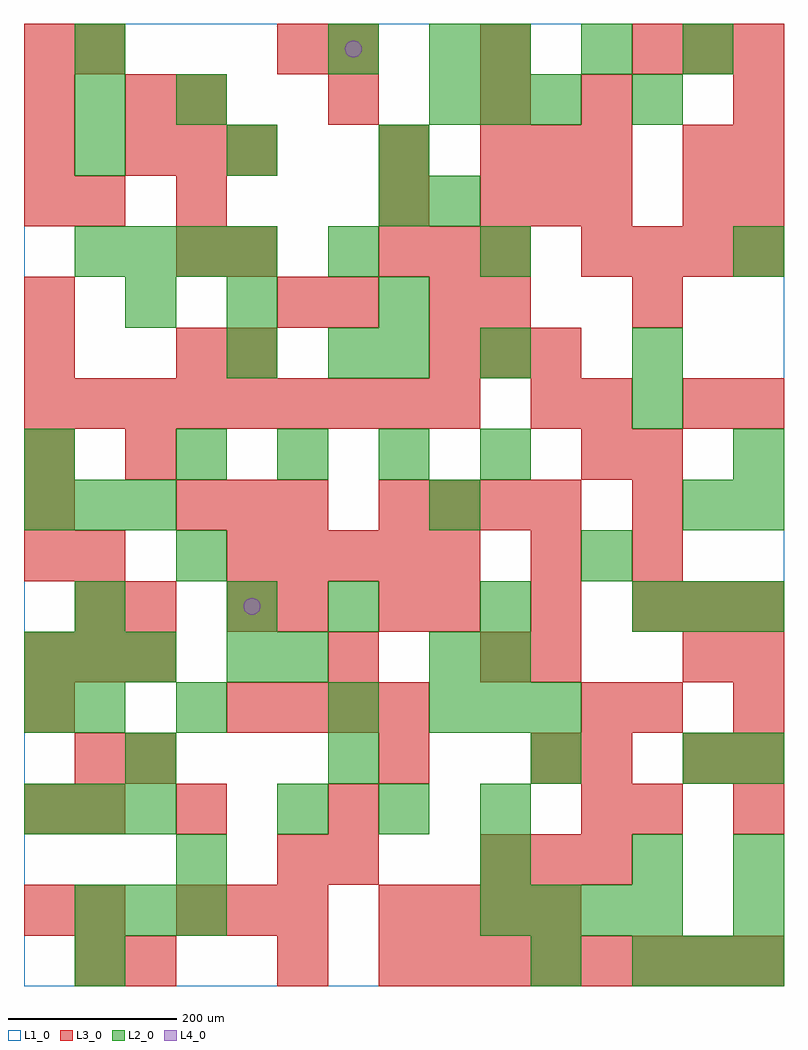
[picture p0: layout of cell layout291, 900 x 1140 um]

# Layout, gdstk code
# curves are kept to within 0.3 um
import gdstk
lib = gdstk.Library(unit=1e-6, precision=1e-09)
def R(c, l, rs):  # rectangles x0, y0, x1, y1
    for r in rs: c.add(gdstk.rectangle(r[:2], r[2:], *l))
def A(c, l, x, y, w, h, nx, ny, dx, dy):  # array of equal rectangles
    R(c, l, [(x+i*dx, y+j*dy, x+i*dx+w, y+j*dy+h) for i in range(nx) for j in range(ny)])
def P(c, l, *ps):  # polygons
    for p in ps: c.add(gdstk.Polygon(p, *l))
L1_0 = (1, 0)
L2_0 = (2, 0)
L3_0 = (3, 0)
L4_0 = (4, 0)

layout291 = lib.new_cell('layout291')
R(layout291, L1_0, [(0,0,900,1140)])
A(layout291, L2_0, 720, 0, 60, 60, 3, 1, 60, 0)
A(layout291, L2_0, 60, 60, 60, 60, 3, 1, 60, 0)
A(layout291, L2_0, 540, 60, 60, 60, 4, 1, 60, 0)
A(layout291, L2_0, 180, 120, 60, 60, 1, 3, 0, 180)
A(layout291, L2_0, 0, 180, 60, 60, 3, 3, 60, 180)
A(layout291, L2_0, 300, 180, 60, 60, 3, 1, 120, 0)
A(layout291, L2_0, 120, 240, 60, 60, 3, 1, 240, 0)
A(layout291, L2_0, 480, 300, 60, 60, 3, 2, 60, 720)
A(layout291, L2_0, 360, 420, 60, 60, 3, 1, 180, 0)
A(layout291, L2_0, 180, 600, 60, 60, 4, 1, 120, 0)
A(layout291, L2_0, 60, 840, 60, 60, 4, 1, 60, 0)
A(layout291, L2_0, 60, 960, 60, 60, 3, 1, 180, 0)
A(layout291, L2_0, 540, 1080, 60, 60, 3, 1, 120, 0)
R(layout291, L2_0, [(60,0,120,60), (600,0,660,60), (840,60,900,120), (540,120,600,180), (720,120,780,180), (840,120,900,180), (780,240,840,300), (840,240,900,300), (0,300,60,360), (60,300,120,360), (360,300,420,360), (240,360,300,420), (300,360,360,420), (480,360,540,420), (540,360,600,420), (60,420,120,480), (240,420,300,480), (780,420,840,480), (840,420,900,480), (660,480,720,540), (480,540,540,600), (780,540,840,600), (840,540,900,600), (0,600,60,660), (840,600,900,660), (720,660,780,720), (240,720,300,780), (360,720,420,780), (420,720,480,780), (540,720,600,780), (720,720,780,780), (120,780,180,840), (240,780,300,840), (420,780,480,840), (360,840,420,900), (540,840,600,900), (840,840,900,900), (420,900,480,960), (480,900,540,960), (60,1020,120,1080), (180,1020,240,1080), (720,1020,780,1080), (60,1080,120,1140), (360,1080,420,1140), (480,1080,540,1140)])
A(layout291, L3_0, 420, 0, 60, 60, 8, 1, 60, 0)
A(layout291, L3_0, 0, 60, 60, 60, 1, 3, 0, 120)
A(layout291, L3_0, 180, 60, 60, 60, 3, 2, 60, 480)
A(layout291, L3_0, 420, 60, 60, 60, 4, 2, 60, 480)
A(layout291, L3_0, 540, 120, 60, 60, 3, 2, 60, 780)
A(layout291, L3_0, 660, 180, 60, 60, 1, 3, 0, 60)
A(layout291, L3_0, 840, 180, 60, 60, 1, 5, 0, 60)
A(layout291, L3_0, 120, 240, 60, 60, 1, 3, 0, 180)
A(layout291, L3_0, 600, 240, 60, 60, 1, 3, 0, 120)
A(layout291, L3_0, 240, 300, 60, 60, 4, 1, 60, 0)
A(layout291, L3_0, 0, 360, 60, 60, 3, 1, 60, 0)
A(layout291, L3_0, 480, 420, 60, 60, 3, 1, 120, 0)
A(layout291, L3_0, 780, 420, 60, 60, 1, 3, 0, 240)
A(layout291, L3_0, 0, 480, 60, 60, 1, 3, 0, 60)
A(layout291, L3_0, 240, 480, 60, 60, 5, 1, 60, 0)
A(layout291, L3_0, 720, 480, 60, 60, 1, 3, 0, 60)
A(layout291, L3_0, 0, 660, 60, 60, 9, 1, 60, 0)
A(layout291, L3_0, 480, 720, 60, 60, 3, 1, 60, 0)
A(layout291, L3_0, 420, 840, 60, 60, 3, 1, 60, 0)
A(layout291, L3_0, 660, 840, 60, 60, 4, 1, 60, 0)
A(layout291, L3_0, 0, 900, 60, 60, 1, 4, 0, 60)
A(layout291, L3_0, 840, 900, 60, 60, 1, 4, 0, 60)
A(layout291, L3_0, 120, 960, 60, 60, 3, 1, 60, 0)
A(layout291, L3_0, 540, 960, 60, 60, 3, 1, 60, 0)
A(layout291, L3_0, 180, 1020, 60, 60, 3, 1, 180, 0)
A(layout291, L3_0, 360, 1080, 60, 60, 3, 1, 180, 0)
R(layout291, L3_0, [(60,0,120,60), (120,0,180,60), (300,0,360,60), (60,60,120,120), (300,120,360,180), (360,120,420,180), (60,180,120,240), (180,180,240,240), (360,180,420,240), (720,180,780,240), (60,240,120,300), (420,240,480,300), (780,240,840,300), (720,300,780,360), (360,360,420,420), (540,360,600,420), (780,360,840,420), (60,420,120,480), (240,420,300,480), (300,420,360,480), (420,420,480,480), (60,480,120,540), (660,600,720,660), (600,660,660,720), (660,660,720,720), (840,660,900,720), (0,720,60,780), (180,720,240,780), (240,720,300,780), (0,780,60,840), (300,780,360,840), (360,780,420,840), (480,780,540,840), (540,780,600,840), (720,780,780,840), (180,840,240,900), (240,840,300,900), (60,900,120,960), (180,900,240,960), (420,900,480,960), (420,960,480,1020), (780,960,840,1020), (120,1020,180,1080), (660,1020,720,1080), (60,1080,120,1140), (300,1080,360,1140), (780,1080,840,1140)])
P(layout291, L4_0, [(280,450),(279.239,453.827),(277.071,457.071),(273.827,459.239),(270,460),(266.173,459.239),(262.929,457.071),(260.761,453.827),(260,450),(260.761,446.173),(262.929,442.929),(266.173,440.761),(270,440),(273.827,440.761),(277.071,442.929),(279.239,446.173)],
  [(400,1110),(399.239,1113.827),(397.071,1117.071),(393.827,1119.239),(390,1120),(386.173,1119.239),(382.929,1117.071),(380.761,1113.827),(380,1110),(380.761,1106.173),(382.929,1102.929),(386.173,1100.761),(390,1100),(393.827,1100.761),(397.071,1102.929),(399.239,1106.173)])

lib.write_gds('layout291.gds')
